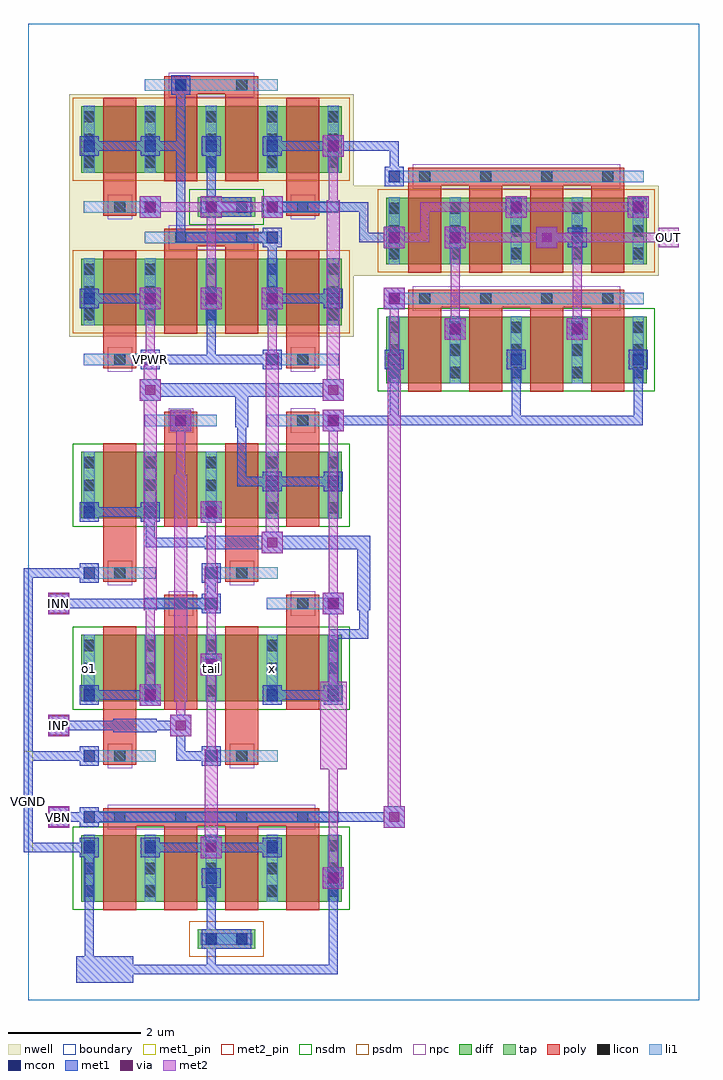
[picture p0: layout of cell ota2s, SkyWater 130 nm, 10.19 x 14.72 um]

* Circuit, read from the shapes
.subckt ota2s INN INP OUT VBN VGND VPWR o1 tail x
XM1 tail VBN VGND VGND sky130_fd_pr__nfet_01v8 w=1 l=0.5 m=4
XM2 o1 VGND o1 VGND sky130_fd_pr__nfet_01v8 w=1 l=0.5 m=2
XM3 x VGND x VGND sky130_fd_pr__nfet_01v8 w=1 l=0.5 m=2
XM4 tail INN o1 VGND sky130_fd_pr__nfet_01v8 w=1 l=0.5 m=2
XM5 tail INP x VGND sky130_fd_pr__nfet_01v8 w=1 l=0.5 m=2
XM6 OUT VBN VGND VGND sky130_fd_pr__nfet_01v8 w=1 l=0.5 m=4
XM7 o1 VPWR o1 VPWR sky130_fd_pr__pfet_01v8 w=1 l=0.5 m=2
XM8 x VPWR x VPWR sky130_fd_pr__pfet_01v8 w=1 l=0.5 m=2
XM9 VPWR x o1 VPWR sky130_fd_pr__pfet_01v8 w=1 l=0.5 m=2
XM10 VPWR x x VPWR sky130_fd_pr__pfet_01v8 w=1 l=0.5 m=2
XM11 OUT o1 VPWR VPWR sky130_fd_pr__pfet_01v8 w=1 l=0.5 m=4
.ends

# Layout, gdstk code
import gdstk
lib = gdstk.Library(unit=1e-6, precision=1e-09)
def R(c, l, rs):  # rectangles x0, y0, x1, y1
    for r in rs: c.add(gdstk.rectangle(r[:2], r[2:], *l))
def A(c, l, x, y, w, h, nx, ny, dx, dy):  # array of equal rectangles
    R(c, l, [(x+i*dx, y+j*dy, x+i*dx+w, y+j*dy+h) for i in range(nx) for j in range(ny)])
nwell = (64, 20)
diff = (65, 20)
tap = (65, 44)
poly = (66, 20)
licon = (66, 44)
li1 = (67, 20)
mcon = (67, 44)
met1_pin = (68, 16)
met1 = (68, 20)
via = (68, 44)
met2_pin = (69, 16)
met2 = (69, 20)
nsdm = (93, 44)
psdm = (94, 20)
npc = (95, 20)
boundary = (235, 4)

ota2s = lib.new_cell('ota2s')
R(ota2s, nwell, [(0.615,10,4.905,10.92), (0.615,10.92,9.505,12.28), (0.615,12.28,4.905,13.66)])
R(ota2s, diff, [(0.795,1.485,4.725,2.485), (0.795,4.505,4.725,5.505), (0.795,7.265,4.725,8.265), (5.395,9.305,9.325,10.305), (0.795,10.18,4.725,11.18), (5.395,11.1,9.325,12.1), (0.795,12.48,4.725,13.48)])
R(ota2s, tap, [(2.555,0.775,3.425,1.065), (2.555,11.815,3.425,12.105)])
A(ota2s, poly, 1.13, 1.355, 0.5, 1.405, 4, 1, 0.92, 0)
A(ota2s, poly, 5.73, 9.175, 0.5, 1.405, 4, 1, 0.92, 0)
A(ota2s, poly, 5.73, 10.97, 0.5, 1.45, 4, 1, 0.92, 0)
R(ota2s, poly, [(1.13,2.625,4.39,2.895), (1.13,3.545,1.63,3.815), (2.97,3.545,3.47,3.815), (1.13,3.68,1.63,5.635), (2.97,3.68,3.47,5.635), (2.05,4.375,2.55,5.98), (3.89,4.375,4.39,5.98), (2.05,5.845,2.55,6.115), (3.89,5.845,4.39,6.115), (1.13,6.305,1.63,6.575), (2.97,6.305,3.47,6.575), (1.13,6.44,1.63,8.395), (2.97,6.44,3.47,8.395), (2.05,7.135,2.55,8.74), (3.89,7.135,4.39,8.74), (2.05,8.605,2.55,8.875), (3.89,8.605,4.39,8.875), (1.13,9.525,1.63,9.795), (3.89,9.525,4.39,9.795), (1.13,9.66,1.63,11.31), (3.89,9.66,4.39,11.31), (2.05,10.05,2.55,11.5), (2.97,10.05,3.47,11.5), (5.73,10.445,8.99,10.715), (2.05,11.365,3.47,11.635), (1.13,11.825,1.63,12.095), (3.89,11.825,4.39,12.095), (1.13,11.96,1.63,13.61), (3.89,11.96,4.39,13.61), (5.73,12.285,8.99,12.555), (2.05,12.35,2.55,13.8), (2.97,12.35,3.47,13.8), (2.05,13.665,3.47,13.935)])
A(ota2s, licon, 3.135, 0.835, 0.17, 0.17, 1, 3, 0, 2.76)
A(ota2s, licon, 0.835, 1.56, 0.17, 0.17, 5, 3, 0.92, 0.34)
A(ota2s, licon, 1.295, 2.675, 0.17, 0.17, 4, 1, 0.92, 0)
A(ota2s, licon, 0.835, 4.58, 0.17, 0.17, 5, 3, 0.92, 0.34)
A(ota2s, licon, 2.215, 5.895, 0.17, 0.17, 1, 3, 0, 2.76)
A(ota2s, licon, 0.835, 7.34, 0.17, 0.17, 5, 3, 0.92, 0.34)
A(ota2s, licon, 5.435, 9.38, 0.17, 0.17, 5, 3, 0.92, 0.34)
A(ota2s, licon, 0.835, 10.255, 0.17, 0.17, 5, 3, 0.92, 0.34)
A(ota2s, licon, 5.895, 10.495, 0.17, 0.17, 4, 2, 0.92, 1.84)
A(ota2s, licon, 5.435, 11.175, 0.17, 0.17, 5, 3, 0.92, 0.34)
A(ota2s, licon, 0.835, 12.555, 0.17, 0.17, 5, 3, 0.92, 0.34)
R(ota2s, licon, [(2.675,0.835,2.845,1.005), (1.295,3.595,1.465,3.765), (4.055,5.895,4.225,6.065), (1.295,6.355,1.465,6.525), (4.055,8.655,4.225,8.825), (1.295,9.575,1.465,9.745), (4.055,9.575,4.225,9.745), (3.135,11.415,3.305,11.585), (1.295,11.875,1.465,12.045), (2.675,11.875,2.845,12.045), (3.135,11.875,3.305,12.045), (4.055,11.875,4.225,12.045), (2.215,13.715,2.385,13.885), (3.135,13.715,3.305,13.885)])
A(ota2s, li1, 0.835, 1.48, 0.17, 1.01, 5, 2, 0.92, 3.02)
A(ota2s, li1, 0.835, 7.26, 0.17, 1.01, 5, 2, 0.92, 2.915)
A(ota2s, li1, 5.435, 9.3, 0.17, 1.01, 5, 2, 0.92, 1.795)
A(ota2s, li1, 0.835, 12.475, 0.17, 1.01, 5, 1, 0.92, 0)
R(ota2s, li1, [(2.595,0.835,3.385,1.005), (0.835,2.675,4.685,2.845), (0.835,3.595,1.925,3.765), (2.675,3.595,3.765,3.765), (1.755,5.895,2.845,6.065), (3.595,5.895,4.685,6.065), (0.835,6.355,1.925,6.525), (2.675,6.355,3.765,6.525), (1.755,8.655,2.845,8.825), (3.595,8.655,4.685,8.825), (0.835,9.575,1.925,9.745), (3.595,9.575,4.685,9.745), (5.435,10.495,9.285,10.665), (1.755,11.415,3.765,11.585), (0.835,11.875,1.925,12.045), (2.595,11.875,3.385,12.045), (3.595,11.875,4.685,12.045), (5.435,12.335,9.285,12.505), (1.755,13.715,3.765,13.885)])
A(ota2s, mcon, 0.835, 2.675, 0.17, 0.17, 1, 3, 0, 0.92)
A(ota2s, mcon, 0.835, 7.275, 0.17, 0.17, 3, 1, 0.92, 0)
A(ota2s, mcon, 1.755, 9.575, 0.17, 0.17, 5, 1, 1.84, 0)
A(ota2s, mcon, 0.835, 10.495, 0.17, 0.17, 6, 1, 0.92, 0)
A(ota2s, mcon, 2.675, 11.875, 0.17, 0.17, 3, 1, 0.46, 0)
A(ota2s, mcon, 0.835, 12.795, 0.17, 0.17, 5, 1, 0.92, 0)
R(ota2s, mcon, [(2.675,0.835,2.845,1.005), (3.135,0.835,3.305,1.005), (2.675,1.755,2.845,1.925), (4.515,1.755,4.685,1.925), (0.835,2.215,1.005,2.385), (1.755,2.215,1.925,2.385), (3.595,2.215,3.765,2.385), (2.675,3.595,2.845,3.765), (1.755,4.515,1.925,4.685), (3.595,4.515,3.765,4.685), (4.515,4.515,4.685,4.685), (2.675,4.975,2.845,5.145), (2.675,5.895,2.845,6.065), (4.515,5.895,4.685,6.065), (0.835,6.355,1.005,6.525), (2.675,6.355,2.845,6.525), (3.595,7.735,3.765,7.905), (4.515,7.735,4.685,7.905), (2.215,8.655,2.385,8.825), (4.515,8.655,4.685,8.825), (6.355,10.035,6.525,10.205), (8.195,10.035,8.365,10.205), (3.595,11.415,3.765,11.585), (5.435,11.415,5.605,11.585), (6.355,11.415,6.525,11.585), (8.195,11.415,8.365,11.585), (1.755,11.875,1.925,12.045), (7.275,11.875,7.445,12.045), (9.115,11.875,9.285,12.045), (5.435,12.335,5.605,12.505), (2.215,13.715,2.385,13.885)])
R(ota2s, met1_pin, [(-0.07,2.23,0.07,3.75), (1.695,9.515,1.985,9.805)])
A(ota2s, met1, 0.775, 2.615, 0.29, 0.29, 1, 3, 0, 0.92)
A(ota2s, met1, 0.775, 7.215, 0.29, 0.29, 3, 1, 0.92, 0)
A(ota2s, met1, 5.45, 8.67, 0.14, 1.06, 3, 1, 1.84, 0)
A(ota2s, met1, 1.695, 9.515, 0.29, 0.29, 5, 1, 1.84, 0)
A(ota2s, met1, 1.68, 10.42, 0.32, 0.32, 3, 2, 0.92, 1.38)
A(ota2s, met1, 0.775, 10.435, 0.29, 0.29, 6, 1, 0.92, 0)
A(ota2s, met1, 0.775, 12.735, 0.29, 0.29, 5, 1, 0.92, 0)
R(ota2s, met1, [(0.72,0.26,1.58,0.66), (0.85,0.39,0.99,2.37), (1.31,0.39,2.83,0.53), (2.69,0.39,4.67,0.53), (2.69,0.39,2.83,0.99), (4.53,0.39,4.67,1.91), (2.615,0.775,3.365,1.065), (2.69,0.85,2.83,1.91), (2.69,0.85,2.83,0.99), (4.44,1.68,4.76,2), (2.615,1.695,2.905,1.985), (4.455,1.695,4.745,1.985), (2.6,2.14,2.92,2.46), (0.775,2.155,1.065,2.445), (1.695,2.155,1.985,2.445), (3.535,2.155,3.825,2.445), (-0.07,2.23,0.07,3.75), (-0.07,2.23,0.99,2.37), (1.77,2.23,2.83,2.37), (2.69,2.23,3.75,2.37), (0.3,2.6,0.62,2.92), (5.36,2.6,5.68,2.92), (0.39,2.69,0.99,2.83), (0.85,2.69,5.59,2.83), (2.615,3.535,2.905,3.825), (-0.07,3.61,0.99,3.75), (-0.07,3.61,0.07,6.51), (2.23,3.61,2.83,3.75), (2.23,3.61,2.37,4.21), (0.3,3.98,0.62,4.3), (2.14,3.98,2.46,4.3), (1.28,4.04,1.94,4.24), (0.39,4.07,1.45,4.21), (1.77,4.07,2.37,4.21), (1.68,4.44,2,4.76), (1.695,4.455,1.985,4.745), (3.535,4.455,3.825,4.745), (4.455,4.455,4.745,4.745), (0.85,4.53,1.91,4.67), (3.61,4.53,4.67,4.67), (4.53,4.53,4.67,5.59), (2.6,4.9,2.92,5.22), (2.615,4.915,2.905,5.205), (4.53,5.45,5.13,5.59), (4.99,5.45,5.13,6.05), (0.3,5.82,0.62,6.14), (4.44,5.82,4.76,6.14), (2.615,5.835,2.905,6.125), (4.455,5.835,4.745,6.125), (4.96,5.88,5.16,7), (0.39,5.91,2.83,6.05), (2.69,5.91,2.83,6.51), (0.775,6.295,1.065,6.585), (2.615,6.295,2.905,6.585), (-0.07,6.37,0.99,6.51), (3.52,6.74,3.84,7.06), (2.66,6.8,5.16,7), (1.77,6.83,2.83,6.97), (1.77,6.83,1.91,7.43), (2.6,7.2,2.92,7.52), (0.85,7.29,1.91,7.43), (3.535,7.675,3.825,7.965), (4.455,7.675,4.745,7.965), (3.15,7.75,3.29,8.81), (3.15,7.75,3.75,7.89), (3.61,7.75,4.67,7.89), (2.14,8.58,2.46,8.9), (4.44,8.58,4.76,8.9), (2.155,8.595,2.445,8.885), (4.455,8.595,4.745,8.885), (3.12,8.64,3.32,9.3), (4.53,8.67,5.59,8.81), (5.45,8.67,7.43,8.81), (7.29,8.67,9.27,8.81), (1.68,9.04,2,9.36), (4.44,9.04,4.76,9.36), (1.74,9.1,3.32,9.3), (3.12,9.1,4.7,9.3), (1.77,9.59,2.83,9.73), (2.69,9.59,3.75,9.73), (2.69,9.59,2.83,10.65), (6.28,9.96,6.6,10.28), (8.12,9.96,8.44,10.28), (6.295,9.975,6.585,10.265), (8.135,9.975,8.425,10.265), (5.36,10.42,5.68,10.74), (0.85,10.51,1.91,10.65), (3.61,10.51,4.67,10.65), (3.61,10.51,3.75,11.57), (5.36,11.34,5.68,11.66), (6.28,11.34,6.6,11.66), (7.66,11.34,7.98,11.66), (3.535,11.355,3.825,11.645), (5.375,11.355,5.665,11.645), (6.295,11.355,6.585,11.645), (8.135,11.355,8.425,11.645), (2.23,11.43,3.75,11.57), (2.23,11.43,2.37,12.95), (4.99,11.43,5.59,11.57), (4.99,11.43,5.13,12.03), (7.75,11.43,8.35,11.57), (7.2,11.8,7.52,12.12), (9.04,11.8,9.36,12.12), (1.695,11.815,1.985,12.105), (2.615,11.815,3.365,12.105), (3.535,11.815,3.825,12.105), (7.215,11.815,7.505,12.105), (9.055,11.815,9.345,12.105), (2.69,11.89,2.83,12.95), (2.69,11.89,2.83,12.03), (3.61,11.89,5.13,12.03), (5.375,12.275,5.665,12.565), (5.45,12.35,5.59,12.95), (4.44,12.72,4.76,13.04), (0.85,12.81,1.91,12.95), (1.77,12.81,2.37,12.95), (2.23,12.81,2.37,13.87), (3.61,12.81,4.67,12.95), (4.53,12.81,5.59,12.95), (2.155,13.655,2.445,13.945)])
A(ota2s, via, 1.765, 10.505, 0.15, 0.15, 3, 2, 0.92, 1.38)
R(ota2s, via, [(4.525,1.765,4.675,1.915), (2.685,2.225,2.835,2.375), (0.385,2.685,0.535,2.835), (5.445,2.685,5.595,2.835), (0.385,4.065,0.535,4.215), (2.225,4.065,2.375,4.215), (1.765,4.525,1.915,4.675), (2.685,4.985,2.835,5.135), (0.385,5.905,0.535,6.055), (4.525,5.905,4.675,6.055), (3.605,6.825,3.755,6.975), (2.685,7.285,2.835,7.435), (2.225,8.665,2.375,8.815), (4.525,8.665,4.675,8.815), (1.765,9.125,1.915,9.275), (4.525,9.125,4.675,9.275), (6.365,10.045,6.515,10.195), (8.205,10.045,8.355,10.195), (5.445,10.505,5.595,10.655), (5.445,11.425,5.595,11.575), (6.365,11.425,6.515,11.575), (7.745,11.425,7.895,11.575), (7.285,11.885,7.435,12.035), (9.125,11.885,9.275,12.035), (4.525,12.805,4.675,12.955)])
R(ota2s, met2_pin, [(0.31,2.61,0.61,2.91), (0.31,3.99,0.61,4.29), (0.31,5.83,0.61,6.13), (9.51,11.35,9.81,11.65)])
A(ota2s, met2, 1.77, 9.59, 0.14, 1.06, 3, 1, 1.84, 0)
A(ota2s, met2, 1.68, 10.42, 0.32, 0.32, 3, 2, 0.92, 1.38)
R(ota2s, met2, [(4.44,1.68,4.76,2), (4.53,1.77,4.67,3.75), (2.6,2.14,2.92,2.46), (2.66,2.2,2.86,3.78), (0.3,2.6,0.62,2.92), (5.36,2.6,5.68,2.92), (0.31,2.61,0.61,2.91), (5.42,2.66,5.62,9.76), (0.39,2.69,0.53,2.83), (4.4,3.48,4.8,4.8), (2.69,3.61,2.83,5.13), (0.3,3.98,0.62,4.3), (2.14,3.98,2.46,4.3), (0.31,3.99,0.61,4.29), (0.39,4.07,0.53,4.21), (2.23,4.07,2.37,4.67), (1.68,4.44,2,4.76), (2.2,4.5,2.4,7.92), (1.77,4.53,1.91,6.05), (4.53,4.53,4.67,6.05), (2.6,4.9,2.92,5.22), (2.69,4.99,2.83,6.05), (0.3,5.82,0.62,6.14), (4.44,5.82,4.76,6.14), (0.31,5.83,0.61,6.13), (1.74,5.88,1.94,9.76), (2.66,5.88,2.86,6.54), (0.39,5.91,0.53,6.05), (4.53,5.91,4.67,8.81), (2.69,6.37,2.83,7.43), (3.52,6.74,3.84,7.06), (3.58,6.8,3.78,9.76), (2.6,7.2,2.92,7.52), (2.23,7.75,2.37,8.81), (2.14,8.58,2.46,8.9), (4.44,8.58,4.76,8.9), (1.68,9.04,2,9.36), (4.44,9.04,4.76,9.36), (4.5,9.1,4.7,12.06), (6.28,9.96,6.6,10.28), (8.12,9.96,8.44,10.28), (6.37,10.05,6.51,11.57), (8.21,10.05,8.35,11.57), (5.36,10.42,5.68,10.74), (2.69,10.51,2.83,12.03), (5.36,11.34,5.68,11.66), (6.28,11.34,6.6,11.66), (7.66,11.34,7.98,11.66), (9.51,11.35,9.81,11.65), (5.45,11.43,6.05,11.57), (5.91,11.43,6.05,12.03), (6.37,11.43,7.89,11.57), (7.75,11.43,9.73,11.57), (9.59,11.43,9.73,11.57), (7.2,11.8,7.52,12.12), (9.04,11.8,9.36,12.12), (1.77,11.89,2.83,12.03), (2.69,11.89,3.75,12.03), (4.53,11.89,4.67,12.95), (5.91,11.89,7.43,12.03), (7.29,11.89,9.27,12.03), (4.44,12.72,4.76,13.04)])
R(ota2s, nsdm, [(0.67,1.36,4.85,2.61), (0.67,4.38,4.85,5.63), (0.67,7.14,4.85,8.39), (5.27,9.18,9.45,10.43), (2.43,11.69,3.55,12.23)])
R(ota2s, psdm, [(2.43,0.65,3.55,1.19), (0.67,10.055,4.85,11.305), (5.27,10.975,9.45,12.225), (0.67,12.355,4.85,13.605)])
R(ota2s, npc, [(1.195,2.575,4.325,2.945), (1.195,3.495,1.565,3.865), (3.035,3.495,3.405,3.865), (2.115,5.795,2.485,6.165), (3.955,5.795,4.325,6.165), (1.195,6.255,1.565,6.625), (3.035,6.255,3.405,6.625), (2.115,8.555,2.485,8.925), (3.955,8.555,4.325,8.925), (1.195,9.475,1.565,9.845), (3.955,9.475,4.325,9.845), (5.795,10.395,8.925,10.765), (2.115,11.315,3.405,11.685), (1.195,11.775,1.565,12.145), (3.955,11.775,4.325,12.145), (5.795,12.235,8.925,12.605), (2.115,13.615,3.405,13.985)])
R(ota2s, boundary, [(0,0,10.12,14.72)])
ota2s.add(gdstk.Label('o1', (0.92,5.005), layer=67, texttype=5))
ota2s.add(gdstk.Label('tail', (2.76,5.005), layer=67, texttype=5))
ota2s.add(gdstk.Label('x', (3.68,5.005), layer=67, texttype=5))
ota2s.add(gdstk.Label('VPWR', (1.84,9.66), layer=68, texttype=5))
ota2s.add(gdstk.Label('VGND', (0,2.99), layer=68, texttype=5))
ota2s.add(gdstk.Label('INP', (0.46,4.14), layer=69, texttype=5))
ota2s.add(gdstk.Label('INN', (0.46,5.98), layer=69, texttype=5))
ota2s.add(gdstk.Label('VBN', (0.46,2.76), layer=69, texttype=5))
ota2s.add(gdstk.Label('OUT', (9.66,11.5), layer=69, texttype=5))
ota2s.add(gdstk.Label('VPWR', (1.84,9.66), layer=68, texttype=16))
ota2s.add(gdstk.Label('VGND', (0,2.99), layer=68, texttype=16))
ota2s.add(gdstk.Label('INP', (0.46,4.14), layer=69, texttype=16))
ota2s.add(gdstk.Label('INN', (0.46,5.98), layer=69, texttype=16))
ota2s.add(gdstk.Label('VBN', (0.46,2.76), layer=69, texttype=16))
ota2s.add(gdstk.Label('OUT', (9.66,11.5), layer=69, texttype=16))

lib.write_gds('ota2s.gds')
